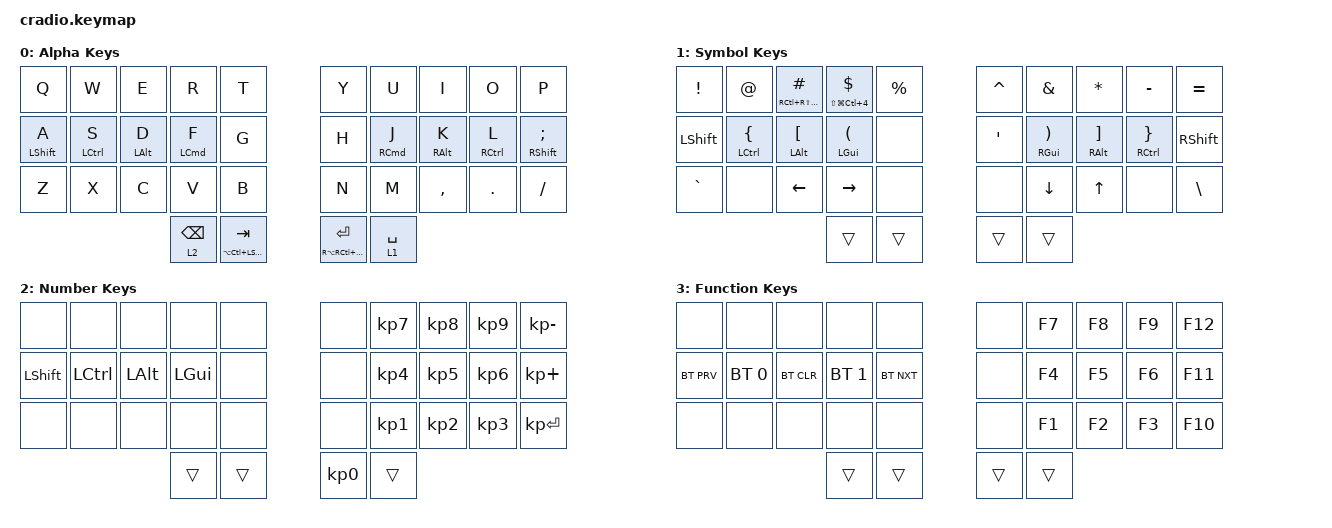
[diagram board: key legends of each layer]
/*
 * Copyright (c) 2020 The ZMK Contributors
 *
 * SPDX-License-Identifier: MIT
 */

#include <behaviors.dtsi>
#include <dt-bindings/zmk/bt.h>
#include <dt-bindings/zmk/keys.h>

&mt {
    flavor = "tap-preferred";
    tapping_term_ms = <200>;
};

/ {
    behaviors {
        hm: homerow_mods {
            compatible = "zmk,behavior-hold-tap";
            label = "HOMEROW_MODS";
            #binding-cells = <2>;
            tapping-term-ms = <200>;
            quick_tap_ms = <0>;
            flavor = "tap-preferred";
            bindings = <&kp>, <&kp>;
        };

        td: tapdance {
            compatible = "zmk,behavior-hold-tap";
            label = "TAPDANCE";
            #binding-cells = <2>;
            tapping-term-ms = <150>;
            quick_tap_ms = <0>;
            flavor = "tap-preferred";
            bindings = <&kp>, <&kp>;
        };
    };

    combos {
        compatible = "zmk,combos";

        combo_left_thumb {
            bindings = <&lt 3 ESCAPE>;
            key-positions = <30 31>;
        };

        combo_right_thumb {
            bindings = <&kp DELETE>;
            key-positions = <32 33>;
        };

        combo_left_reset {
            bindings = <&sys_reset>;
            key-positions = <0 31>;
        };

        combo_right_reset {
            bindings = <&sys_reset>;
            key-positions = <32 9>;
        };

        combo_left_bootloader {
            bindings = <&bootloader>;
            key-positions = <0 30>;
        };

        combo_right_bootloader {
            bindings = <&bootloader>;
            key-positions = <33 9>;
        };
    };

    keymap {
        compatible = "zmk,keymap";

        default_layer {
            bindings = <
&kp Q             &kp W               &kp E       &kp R            &kp T                         &kp Y                              &kp U        &kp I       &kp O                &kp P
&hm LEFT_SHIFT A  &hm LEFT_CONTROL S  &hm LALT D  &hm LCMD F       &kp G                         &kp H                              &hm RCMD J   &hm RALT K  &hm RIGHT_CONTROL L  &hm RIGHT_SHIFT SEMI
&kp Z             &kp X               &kp C       &kp V            &kp B                         &kp N                              &kp M        &kp COMMA   &kp PERIOD           &kp SLASH
                                                  &lt 2 BACKSPACE  &mt LA(LC(LEFT_SHIFT)) TAB    &mt RA(RC(RG(RIGHT_SHIFT))) ENTER  &lt 1 SPACE
            >;

            label = "Alpha Keys";
        };

        symbol_layer {
            bindings = <
&kp EXCLAMATION  &kp AT_SIGN                  &td RC(RS(RG(NUMBER_3))) HASH  &td LS(LG(LC(N4))) DOLLAR      &kp PERCENT    &kp CARET         &kp AMPS                         &kp STAR                     &kp MINUS                      &kp EQUAL
&kp LEFT_SHIFT   &hm LEFT_CONTROL LEFT_BRACE  &hm LEFT_ALT LEFT_BRACKET      &hm LEFT_GUI LEFT_PARENTHESIS  &none          &kp SINGLE_QUOTE  &hm RIGHT_GUI RIGHT_PARENTHESIS  &hm RIGHT_ALT RIGHT_BRACKET  &hm RIGHT_CONTROL RIGHT_BRACE  &kp RIGHT_SHIFT
&kp GRAVE        &none                        &kp LEFT_ARROW                 &kp RIGHT                      &none          &none             &kp DOWN_ARROW                   &kp UP_ARROW                 &none                          &kp BACKSLASH
                                                                             &trans                         &trans         &trans            &trans
            >;

            label = "Symbol Keys";
        };

        number_layer {
            bindings = <
&none           &none             &none         &none         &none     &none            &kp KP_NUMBER_7  &kp KP_NUMBER_8  &kp KP_NUMBER_9  &kp KP_MINUS
&kp LEFT_SHIFT  &kp LEFT_CONTROL  &kp LEFT_ALT  &kp LEFT_GUI  &none     &none            &kp KP_NUMBER_4  &kp KP_NUMBER_5  &kp KP_NUMBER_6  &kp KP_PLUS
&none           &none             &none         &none         &none     &none            &kp KP_NUMBER_1  &kp KP_NUMBER_2  &kp KP_NUMBER_3  &kp KP_ENTER
                                                &trans        &trans    &kp KP_NUMBER_0  &trans
            >;

            label = "Number Keys";
        };

        function_layer {
            bindings = <
&none       &none         &none       &none         &none         &none   &kp F7  &kp F8  &kp F9  &kp F12
&bt BT_PRV  &bt BT_SEL 0  &bt BT_CLR  &bt BT_SEL 1  &bt BT_NXT    &none   &kp F4  &kp F5  &kp F6  &kp F11
&none       &none         &none       &none         &none         &none   &kp F1  &kp F2  &kp F3  &kp F10
                                      &trans        &trans        &trans  &trans
            >;

            label = "Function Keys";
        };
    };
};
